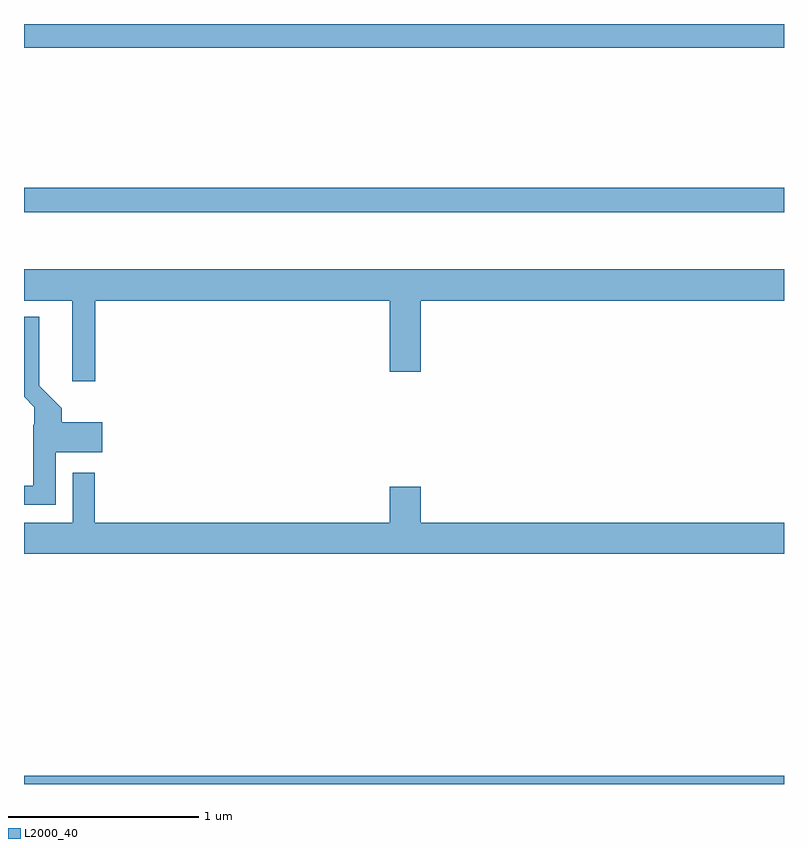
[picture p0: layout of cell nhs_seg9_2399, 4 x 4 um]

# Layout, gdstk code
import gdstk
lib = gdstk.Library(unit=1e-6, precision=1e-09)
def R(c, l, rs):  # rectangles x0, y0, x1, y1
    for r in rs: c.add(gdstk.rectangle(r[:2], r[2:], *l))
def P(c, l, *ps):  # polygons
    for p in ps: c.add(gdstk.Polygon(p, *l))
L2000_40 = (2000, 40)

nhs_seg9_2399 = lib.new_cell('nhs_seg9_2399')
R(nhs_seg9_2399, L2000_40, [(247,1236.5,251,1236.544), (247,1239.51,251,1239.638), (247,1240.376,251,1240.5)])
P(nhs_seg9_2399, L2000_40, [(247,1239.044),(247.253,1239.044),(247.253,1238.619),(247.376,1238.619),(247.376,1239.044),(248.924,1239.044),(248.924,1238.67),(249.088,1238.67),(249.088,1239.044),(251,1239.044),(251,1239.208),(247,1239.208)],
  [(247.168,1238.246),(247.411,1238.246),(247.411,1238.404),(247.199,1238.404),(247.199,1238.478),(247.081,1238.596),(247.081,1238.959),(247,1238.959),(247,1238.537),(247.053,1238.484),(247.053,1238.39),(247.049,1238.39),(247.049,1238.071),(247,1238.071),(247,1237.97),(247.168,1237.97)],
  [(251,1237.876),(249.088,1237.876),(249.088,1238.065),(248.924,1238.065),(248.924,1237.876),(247.373,1237.876),(247.373,1238.137),(247.257,1238.137),(247.257,1237.876),(247,1237.876),(247,1237.712),(251,1237.712)])

lib.write_gds('nhs_seg9_2399.gds')
